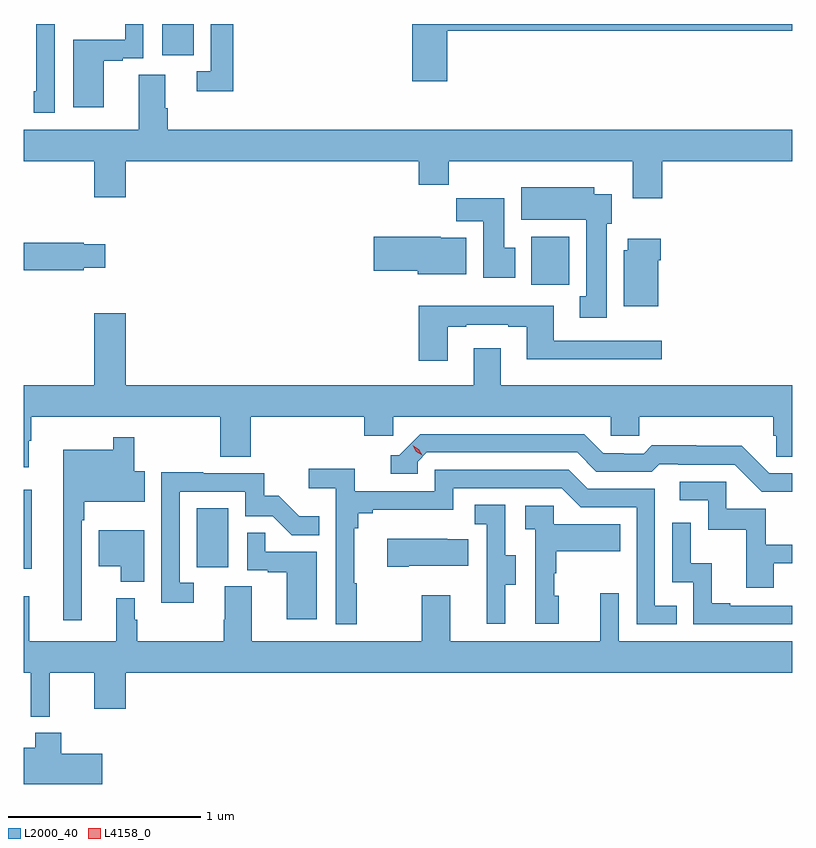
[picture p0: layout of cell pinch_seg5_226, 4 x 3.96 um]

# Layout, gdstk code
import gdstk
lib = gdstk.Library(unit=1e-6, precision=1e-09)
def R(c, l, rs):  # rectangles x0, y0, x1, y1
    for r in rs: c.add(gdstk.rectangle(r[:2], r[2:], *l))
def P(c, l, *ps):  # polygons
    for p in ps: c.add(gdstk.Polygon(p, *l))
L2000_40 = (2000, 40)
L4158_0 = (4158, 0)

pinch_seg5_226 = lib.new_cell('pinch_seg5_226')
R(pinch_seg5_226, L2000_40, [(955.85,902.591,955.891,903.001), (956.75,902.598,956.914,902.905), (958.493,904.068,958.689,904.318), (956.57,905.262,956.734,905.426)])
P(pinch_seg5_226, L2000_40, [(956.266,905.235),(956.366,905.235),(956.366,905.247),(956.472,905.247),(956.472,905.426),(956.377,905.426),(956.377,905.343),(956.108,905.343),(956.108,904.992),(956.266,904.992)],
  [(956.939,905.426),(956.823,905.426),(956.823,905.181),(956.751,905.181),(956.751,905.076),(956.939,905.076)],
  [(958.055,905.392),(959.85,905.392),(959.85,905.426),(957.872,905.426),(957.872,905.127),(958.055,905.127)],
  [(956.01,905.426),(955.914,905.426),(955.914,905.077),(955.902,905.077),(955.902,904.965),(956.01,904.965)],
  [(959.174,904.712),(959.85,904.712),(959.85,904.876),(956.6,904.876),(956.6,904.988),(956.587,904.988),(956.587,905.162),(956.447,905.162),(956.447,904.876),(955.85,904.876),(955.85,904.712),(956.216,904.712),(956.216,904.524),(956.38,904.524),(956.38,904.712),(957.905,904.712),(957.905,904.588),(958.061,904.588),(958.061,904.712),(959.021,904.712),(959.021,904.518),(959.174,904.518)],
  [(958.885,904.386),(958.912,904.386),(958.912,904.54),(958.819,904.54),(958.819,904.576),(958.439,904.576),(958.439,904.406),(958.778,904.406),(958.778,904.009),(958.745,904.009),(958.745,903.897),(958.885,903.897)],
  [(958.408,904.26),(958.351,904.26),(958.351,904.518),(958.102,904.518),(958.102,904.4),(958.241,904.4),(958.241,904.104),(958.408,904.104)],
  [(958.153,904.312),(958.02,904.312),(958.02,904.318),(957.672,904.318),(957.672,904.142),(957.902,904.142),(957.902,904.124),(958.153,904.124)],
  [(959.152,904.196),(959.165,904.196),(959.165,904.309),(958.994,904.309),(958.994,904.248),(958.973,904.248),(958.973,903.956),(959.152,903.956)],
  [(956.162,904.157),(956.275,904.157),(956.275,904.279),(956.162,904.279),(956.162,904.287),(955.85,904.287),(955.85,904.145),(956.162,904.145)],
  [(958.057,903.849),(958.153,903.849),(958.153,903.861),(958.373,903.861),(958.373,903.849),(958.469,903.849),(958.469,903.68),(959.17,903.68),(959.17,903.777),(958.609,903.777),(958.609,903.958),(957.905,903.958),(957.905,903.672),(958.057,903.672)],
  [(955.876,903.257),(955.888,903.257),(955.888,903.38),(956.872,903.38),(956.872,903.172),(957.032,903.172),(957.032,903.38),(957.623,903.38),(957.623,903.282),(957.774,903.282),(957.774,903.38),(958.905,903.38),(958.905,903.282),(959.055,903.282),(959.055,903.38),(959.753,903.38),(959.753,903.282),(959.767,903.282),(959.767,903.172),(959.85,903.172),(959.85,903.544),(958.333,903.544),(958.333,903.739),(958.193,903.739),(958.193,903.544),(956.38,903.544),(956.38,903.919),(956.216,903.919),(956.216,903.544),(955.85,903.544),(955.85,903.117),(955.876,903.117)],
  [(959.85,903.087),(959.73,903.087),(959.588,903.229),(959.352,903.229),(959.352,903.232),(959.119,903.232),(959.077,903.189),(958.974,903.189),(958.974,903.192),(958.867,903.192),(958.768,903.291),(957.915,903.291),(957.804,903.18),(957.761,903.18),(957.761,903.084),(957.9,903.084),(957.9,903.147),(957.948,903.195),(958.731,903.195),(958.83,903.096),(959.119,903.096),(959.158,903.135),(959.257,903.135),(959.257,903.132),(959.55,903.132),(959.691,902.991),(959.85,902.991)],
  [(956.151,902.843),(956.164,902.843),(956.164,902.939),(956.479,902.939),(956.479,903.097),(956.425,903.097),(956.425,903.274),(956.316,903.274),(956.316,903.208),(956.054,903.208),(956.054,902.322),(956.151,902.322)],
  [(957.583,902.513),(957.571,902.513),(957.571,902.801),(957.59,902.801),(957.59,902.878),(957.667,902.878),(957.667,902.897),(958.086,902.897),(958.086,903.009),(958.65,903.009),(958.749,902.91),(959.04,902.91),(959.04,902.301),(959.249,902.301),(959.249,902.397),(959.136,902.397),(959.136,903.006),(958.786,903.006),(958.687,903.105),(957.99,903.105),(957.99,902.994),(957.572,902.994),(957.572,903.11),(957.333,903.11),(957.333,903.008),(957.474,903.008),(957.474,902.301),(957.583,902.301)],
  [(956.734,902.517),(956.661,902.517),(956.661,902.991),(957.003,902.991),(957.003,902.862),(957.147,902.862),(957.245,902.764),(957.389,902.764),(957.389,902.863),(957.285,902.863),(957.178,902.97),(957.102,902.97),(957.102,903.087),(956.783,903.087),(956.783,903.092),(956.565,903.092),(956.565,902.412),(956.734,902.412)],
  [(959.755,902.619),(959.85,902.619),(959.85,902.715),(959.713,902.715),(959.713,902.901),(959.508,902.901),(959.508,903.042),(959.265,903.042),(959.265,902.946),(959.412,902.946),(959.412,902.793),(959.611,902.793),(959.611,902.49),(959.755,902.49)],
  [(958.357,902.506),(958.411,902.506),(958.411,902.661),(958.356,902.661),(958.356,902.924),(958.197,902.924),(958.197,902.821),(958.26,902.821),(958.26,902.517),(958.259,902.517),(958.259,902.304),(958.357,902.304)],
  [(958.636,902.448),(958.611,902.448),(958.611,902.567),(958.621,902.567),(958.621,902.681),(958.955,902.681),(958.955,902.821),(958.608,902.821),(958.608,902.919),(958.461,902.919),(958.461,902.795),(958.512,902.795),(958.512,902.304),(958.636,902.304)],
  [(959.85,902.397),(959.527,902.397),(959.527,902.41),(959.432,902.41),(959.432,902.618),(959.322,902.618),(959.322,902.83),(959.226,902.83),(959.226,902.52),(959.334,902.52),(959.334,902.301),(959.85,902.301)],
  [(956.476,902.791),(956.24,902.791),(956.24,902.603),(956.354,902.603),(956.354,902.522),(956.476,902.522)],
  [(957.376,902.679),(957.107,902.679),(957.107,902.777),(957.012,902.777),(957.012,902.583),(957.119,902.583),(957.119,902.571),(957.218,902.571),(957.218,902.328),(957.376,902.328)],
  [(957.853,902.606),(958.163,902.606),(958.163,902.743),(958.055,902.743),(958.055,902.746),(957.741,902.746),(957.741,902.599),(957.853,902.599)],
  [(959.85,902.212),(958.947,902.212),(958.947,902.461),(958.85,902.461),(958.85,902.212),(958.069,902.212),(958.069,902.452),(957.922,902.452),(957.922,902.212),(957.037,902.212),(957.037,902.498),(956.897,902.498),(956.897,902.324),(956.89,902.324),(956.89,902.212),(956.44,902.212),(956.44,902.324),(956.428,902.324),(956.428,902.437),(956.33,902.437),(956.33,902.212),(955.877,902.212),(955.877,902.446),(955.85,902.446),(955.85,902.048),(955.886,902.048),(955.886,901.82),(955.986,901.82),(955.986,902.048),(956.216,902.048),(956.216,901.86),(956.38,901.86),(956.38,902.048),(959.85,902.048)],
  [(956.257,901.627),(956.045,901.627),(956.045,901.735),(955.91,901.735),(955.91,901.657),(955.85,901.657),(955.85,901.469),(956.257,901.469)])
P(pinch_seg5_226, L4158_0, [(957.923,903.18),(957.892,903.2),(957.876,903.232),(957.876,903.232),(957.876,903.232),(957.907,903.213),(957.924,903.18),(957.924,903.18)])

lib.write_gds('pinch_seg5_226.gds')
